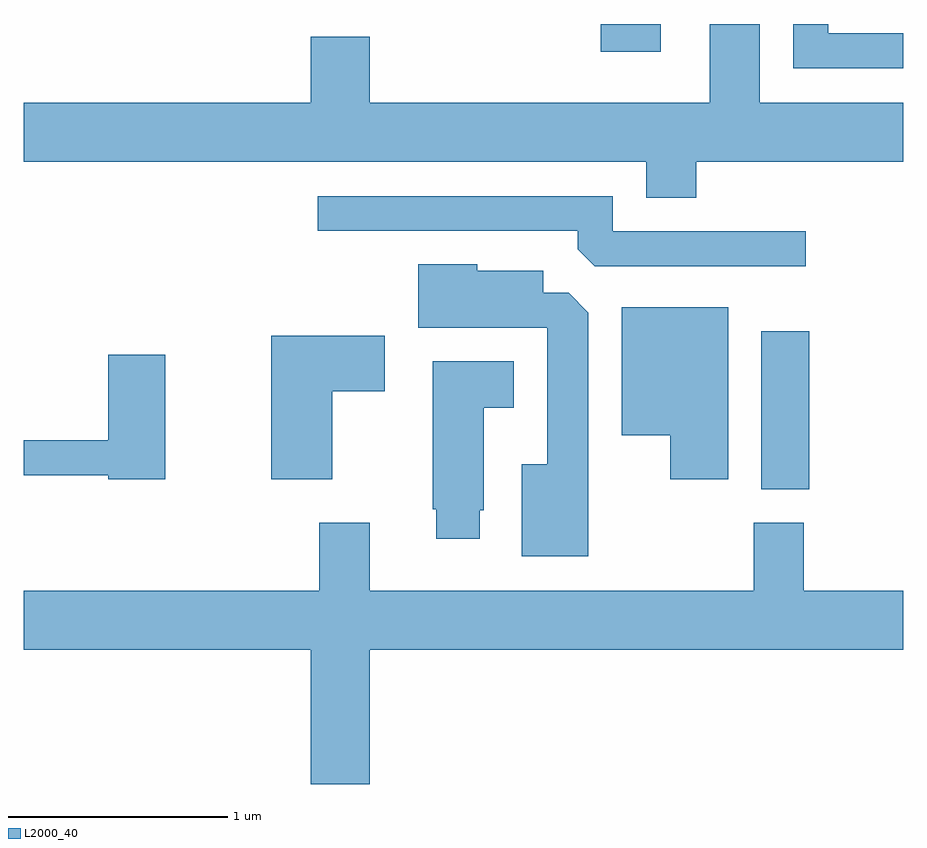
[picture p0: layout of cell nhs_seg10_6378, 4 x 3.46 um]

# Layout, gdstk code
import gdstk
lib = gdstk.Library(unit=1e-6, precision=1e-09)
def R(c, l, rs):  # rectangles x0, y0, x1, y1
    for r in rs: c.add(gdstk.rectangle(r[:2], r[2:], *l))
def P(c, l, *ps):  # polygons
    for p in ps: c.add(gdstk.Polygon(p, *l))
L2000_40 = (2000, 40)

nhs_seg10_6378 = lib.new_cell('nhs_seg10_6378')
R(nhs_seg10_6378, L2000_40, [(376.966,2132.406,377.184,2133.124), (376.236,2134.396,376.508,2134.522)])
P(nhs_seg10_6378, L2000_40, [(376.669,2133.896),(377.611,2133.896),(377.611,2134.164),(376.959,2134.164),(376.959,2134.522),(376.731,2134.522),(376.731,2134.164),(375.184,2134.164),(375.184,2134.464),(374.916,2134.464),(374.916,2134.164),(373.611,2134.164),(373.611,2133.896),(376.441,2133.896),(376.441,2133.731),(376.669,2133.731)],
  [(377.611,2134.479),(377.269,2134.479),(377.269,2134.522),(377.111,2134.522),(377.111,2134.321),(377.611,2134.321)],
  [(377.168,2133.579),(376.289,2133.579),(376.289,2133.739),(374.948,2133.739),(374.948,2133.581),(376.131,2133.581),(376.131,2133.497),(376.207,2133.421),(377.168,2133.421)],
  [(376.179,2133.209),(376.089,2133.299),(375.974,2133.299),(375.974,2133.399),(375.674,2133.399),(375.674,2133.429),(375.406,2133.429),(375.406,2133.141),(375.991,2133.141),(375.991,2132.519),(375.876,2132.519),(375.876,2132.101),(376.179,2132.101)],
  [(376.814,2133.234),(376.331,2133.234),(376.331,2132.651),(376.551,2132.651),(376.551,2132.451),(376.814,2132.451)],
  [(375.014,2132.851),(375.254,2132.851),(375.254,2133.104),(374.736,2133.104),(374.736,2132.451),(375.014,2132.451)],
  [(374.254,2133.019),(373.996,2133.019),(373.996,2132.629),(373.611,2132.629),(373.611,2132.471),(373.996,2132.471),(373.996,2132.451),(374.254,2132.451)],
  [(375.684,2132.311),(375.704,2132.311),(375.704,2132.776),(375.839,2132.776),(375.839,2132.989),(375.471,2132.989),(375.471,2132.315),(375.486,2132.315),(375.486,2132.181),(375.684,2132.181)],
  [(375.184,2131.676),(377.611,2131.676),(377.611,2131.944),(377.159,2131.944),(377.159,2132.254),(376.931,2132.254),(376.931,2131.944),(375.184,2131.944),(375.184,2132.254),(374.956,2132.254),(374.956,2131.944),(373.611,2131.944),(373.611,2131.676),(374.916,2131.676),(374.916,2131.066),(375.184,2131.066)])

lib.write_gds('nhs_seg10_6378.gds')
